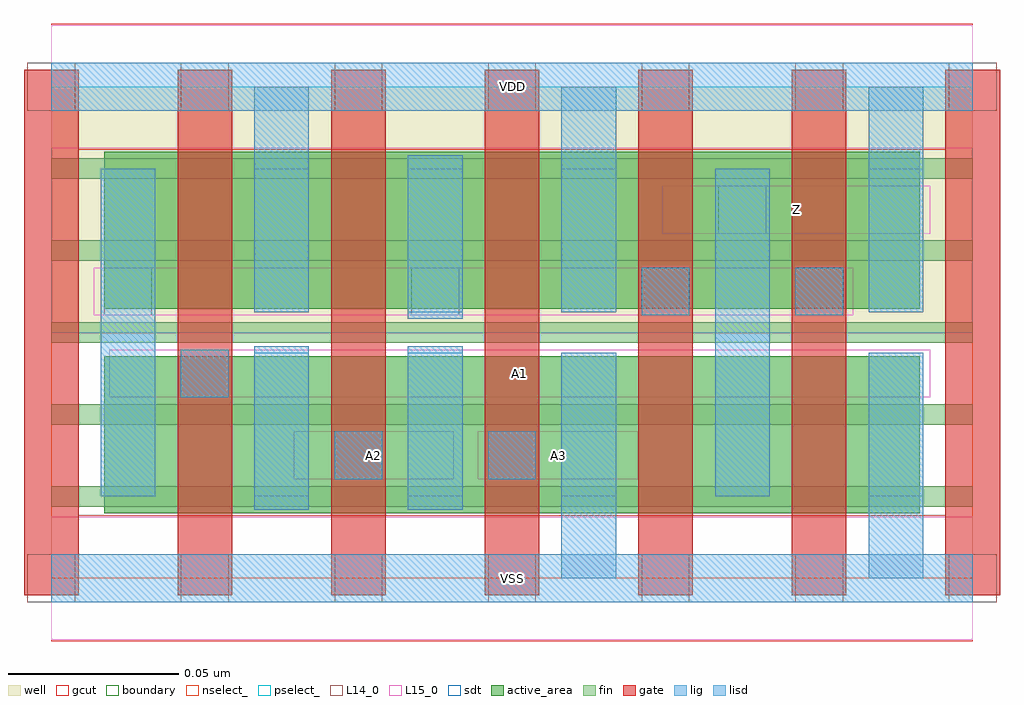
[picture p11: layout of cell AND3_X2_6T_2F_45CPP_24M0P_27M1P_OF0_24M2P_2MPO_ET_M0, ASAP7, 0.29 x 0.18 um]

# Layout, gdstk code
import gdstk
lib = gdstk.Library(unit=1e-6, precision=2.5e-10)
def R(c, l, rs):  # rectangles x0, y0, x1, y1
    for r in rs: c.add(gdstk.rectangle(r[:2], r[2:], *l))
def A(c, l, x, y, w, h, nx, ny, dx, dy):  # array of equal rectangles
    R(c, l, [(x+i*dx, y+j*dy, x+i*dx+w, y+j*dy+h) for i in range(nx) for j in range(ny)])
well = (1, 0)
fin = (2, 0)
gate = (7, 0)
gcut = (10, 0)
active_area = (11, 0)
nselect_ = (12, 0)
pselect_ = (13, 0)
L14_0 = (14, 0)
L15_0 = (15, 0)
lig = (16, 0)
lisd = (17, 0)
sdt = (88, 0)
boundary = (100, 0)

and3_x2_6t_2f_45cpp_24m0 = lib.new_cell('AND3_X2_6T_2F_45CPP_24M0P_27M1P_OF0_24M2P_2MPO_ET_M0')
R(and3_x2_6t_2f_45cpp_24m0, well, [(0,0.072,0.27,0.144)])
A(and3_x2_6t_2f_45cpp_24m0, fin, 0, 0.021, 0.27, 0.006, 1, 5, 0, 0.024)
A(and3_x2_6t_2f_45cpp_24m0, gate, -0.008, -0.005, 0.016, 0.154, 7, 1, 0.045, 0)
R(and3_x2_6t_2f_45cpp_24m0, gcut, [(0,-0.0185,0.27,0.0185), (-0.008,-0.005,0.008,0.149), (0.262,-0.005,0.278,0.149), (0,0.1255,0.27,0.1625)])
A(and3_x2_6t_2f_45cpp_24m0, active_area, 0.0155, 0.019, 0.059, 0.046, 5, 2, 0.045, 0.06)
R(and3_x2_6t_2f_45cpp_24m0, nselect_, [(0,0,0.27,0.072)])
R(and3_x2_6t_2f_45cpp_24m0, pselect_, [(0,0.072,0.27,0.144)])
A(and3_x2_6t_2f_45cpp_24m0, L14_0, -0.007, -0.007, 0.014, 0.014, 7, 2, 0.045, 0.144)
R(and3_x2_6t_2f_45cpp_24m0, L14_0, [(0.083,0.029,0.097,0.043), (0.128,0.029,0.142,0.043), (0.038,0.053,0.052,0.067), (0.0155,0.077,0.0295,0.091), (0.1055,0.077,0.1195,0.091), (0.173,0.077,0.187,0.091), (0.218,0.077,0.232,0.091), (0.1955,0.101,0.2095,0.115)])
R(and3_x2_6t_2f_45cpp_24m0, L15_0, [(0,-0.018,0.27,0.018), (0.071,0.029,0.118,0.043), (0.125,0.029,0.172,0.043), (0.017,0.053,0.2575,0.067), (0.0125,0.077,0.235,0.091), (0.179,0.101,0.2575,0.115), (0,0.126,0.27,0.162)])
R(and3_x2_6t_2f_45cpp_24m0, lig, [(0,-0.007,0.27,0.007), (0.083,0.029,0.097,0.043), (0.128,0.029,0.142,0.043), (0.038,0.053,0.052,0.067), (0.173,0.077,0.187,0.091), (0.218,0.077,0.232,0.091), (0,0.137,0.27,0.151)])
A(and3_x2_6t_2f_45cpp_24m0, lisd, 0.0595, 0.078, 0.016, 0.066, 3, 1, 0.09, 0)
R(and3_x2_6t_2f_45cpp_24m0, lisd, [(0.1495,0,0.1655,0.066), (0.2395,0,0.2555,0.066), (0.0595,0.02,0.0755,0.068), (0.1045,0.02,0.1205,0.068), (0.0145,0.024,0.0305,0.12), (0.1945,0.024,0.2105,0.12), (0.1045,0.076,0.1205,0.124)])
A(and3_x2_6t_2f_45cpp_24m0, sdt, 0.0595, 0.024, 0.016, 0.042, 3, 2, 0.045, 0.054)
R(and3_x2_6t_2f_45cpp_24m0, sdt, [(0.0145,0.024,0.0305,0.12), (0.1945,0.024,0.2105,0.12), (0.2395,0.024,0.2555,0.066), (0.2395,0.078,0.2555,0.12)])
R(and3_x2_6t_2f_45cpp_24m0, boundary, [(0,0,0.27,0.144)])
and3_x2_6t_2f_45cpp_24m0.add(gdstk.Label('Z', (0.2182,0.108), layer=15, texttype=251))
and3_x2_6t_2f_45cpp_24m0.add(gdstk.Label('A2', (0.0945,0.036), layer=15, texttype=251))
and3_x2_6t_2f_45cpp_24m0.add(gdstk.Label('A3', (0.1485,0.036), layer=15, texttype=251))
and3_x2_6t_2f_45cpp_24m0.add(gdstk.Label('A1', (0.1373,0.06), layer=15, texttype=251))
and3_x2_6t_2f_45cpp_24m0.add(gdstk.Label('VDD', (0.135,0.144), layer=15, texttype=251))
and3_x2_6t_2f_45cpp_24m0.add(gdstk.Label('VSS', (0.135,0), layer=15, texttype=251))
and3_x2_6t_2f_45cpp_24m0.add(gdstk.Label('VDD', (0.135,0.144), layer=1, texttype=251))
and3_x2_6t_2f_45cpp_24m0.add(gdstk.Label('VSS', (0.135,0), layer=3, texttype=251))

lib.write_gds('AND3_X2_6T_2F_45CPP_24M0P_27M1P_OF0_24M2P_2MPO_ET_M0.gds')
